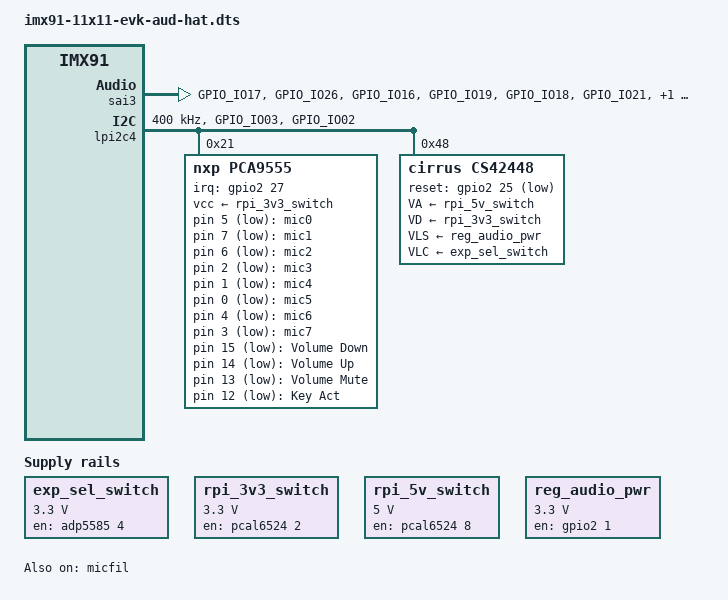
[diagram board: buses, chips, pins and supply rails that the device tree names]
// SPDX-License-Identifier: (GPL-2.0+ OR MIT)
/*
 * Copyright 2024 NXP
 */

#include "imx91-11x11-evk.dts"

/ {
	mic_leds {
		compatible = "gpio-leds";
		mic0 {
			label = "mic0";
			gpios = <&pca9555 5 GPIO_ACTIVE_LOW>;
			default-state = "off";
		};
		mic1 {
			label = "mic1";
			gpios = <&pca9555 7 GPIO_ACTIVE_LOW>;
			default-state = "off";
		};
		mic2 {
			label = "mic2";
			gpios = <&pca9555 6 GPIO_ACTIVE_LOW>;
			default-state = "off";
		};
		mic3 {
			label = "mic3";
			gpios = <&pca9555 2 GPIO_ACTIVE_LOW>;
			default-state = "off";
		};
		mic4 {
			label = "mic4";
			gpios = <&pca9555 1 GPIO_ACTIVE_LOW>;
			default-state = "off";
		};
		mic5 {
			label = "mic5";
			gpios = <&pca9555 0 GPIO_ACTIVE_LOW>;
			default-state = "off";
		};
		mic6 {
			label = "mic6";
			gpios = <&pca9555 4 GPIO_ACTIVE_LOW>;
			default-state = "off";
		};
		mic7 {
			label = "mic7";
			gpios = <&pca9555 3 GPIO_ACTIVE_LOW>;
			default-state = "off";
		};
	};

	sw_keys {
		compatible = "gpio-keys";

		sw4: volume_down {
			label = "Volume Down";
			gpios = <&pca9555 15 GPIO_ACTIVE_LOW>;
			linux,code = <KEY_VOLUMEDOWN>;
			interrupt-parent = <&pca9555>;
			interrupts = <15 IRQ_TYPE_LEVEL_LOW>;
		};

		sw3: volume_up {
			label = "Volume Up";
			gpios = <&pca9555 14 GPIO_ACTIVE_LOW>;
			linux,code = <KEY_VOLUMEUP>;
			interrupt-parent = <&pca9555>;
			interrupts = <14 IRQ_TYPE_LEVEL_LOW>;
		};

		sw2: volume_mute {
			label = "Volume Mute";
			gpios = <&pca9555 13 GPIO_ACTIVE_LOW>;
			linux,code = <KEY_MUTE>;
			interrupt-parent = <&pca9555>;
			interrupts = <13 IRQ_TYPE_LEVEL_LOW>;
		};

		sw1: key_act {
			label = "Key Act";
			gpios = <&pca9555 12 GPIO_ACTIVE_LOW>;
			linux,code = <KEY_F9>;
			interrupt-parent = <&pca9555>;
			interrupts = <12 IRQ_TYPE_LEVEL_LOW>;
		};
	};

	exp_sel_switch: regulator-sel-switch {
		compatible = "regulator-fixed";
		regulator-name = "exp-sel-switch";
		regulator-min-microvolt = <3300000>;
		regulator-max-microvolt = <3300000>;
		gpio = <&adp5585 4 GPIO_ACTIVE_HIGH>;
		enable-active-high;
		regulator-always-on;
	};

	rpi_3v3_switch: regulator-3v3-switch {
		compatible = "regulator-fixed";
		regulator-name = "rpi-3v3-switch";
		regulator-min-microvolt = <3300000>;
		regulator-max-microvolt = <3300000>;
		gpio = <&pcal6524 2 GPIO_ACTIVE_HIGH>;
		enable-active-high;
		regulator-always-on;
	};

	rpi_5v_switch: regulator-5v-switch {
		compatible = "regulator-fixed";
		regulator-name = "rpi-5v-switch";
		regulator-min-microvolt = <5000000>;
		regulator-max-microvolt = <5000000>;
		gpio = <&pcal6524 8 GPIO_ACTIVE_HIGH>;
		enable-active-high;
		regulator-always-on;
	};

	reg_audio_pwr: regulator-audio-pwr {
		compatible = "regulator-fixed";
		pinctrl-names = "default";
		pinctrl-0 = <&pinctrl_audio_pwr>;
		regulator-name = "cs42448-supply";
		regulator-min-microvolt = <3300000>;
		regulator-max-microvolt = <3300000>;
		gpio = <&gpio2 1 GPIO_ACTIVE_HIGH>;
		enable-active-high;
		regulator-always-on;
	};

	sound-wm8962 {
		status = "disabled";
	};

	sound-cs42448 {
		compatible = "fsl,imx-audio-card";
		model = "imx-cs42448";
		status = "okay";
		pri-dai-link {
			link-name = "cs42448";
			format = "dsp_a";
			dai-tdm-slot-num = <8>;
			dai-tdm-slot-width = <32>;
			fsl,mclk-equal-bclk;
			cpu {
				sound-dai = <&sai3>;
			};
			codec {
				sound-dai = <&cs42448>;
			};
		};
	};

};

&adp5585 {
	exp-sel-hog {
		status = "disabled";
	};
};

&sai3 {
	#sound-dai-cells = <0>;
	pinctrl-names = "default";
	pinctrl-0 = <&pinctrl_sai3audhat>;
	clocks = <&clk IMX91_CLK_SAI3_IPG>, <&clk IMX91_CLK_DUMMY>,
		 <&clk IMX91_CLK_SAI3_GATE>, <&clk IMX91_CLK_DUMMY>,
		 <&clk IMX91_CLK_DUMMY>, <&clk IMX91_CLK_AUDIO_PLL>;
	clock-names = "bus", "mclk0", "mclk1", "mclk2", "mclk3", "pll8k";
	assigned-clocks = <&clk IMX91_CLK_SAI3>;
	assigned-clock-parents = <&clk IMX91_CLK_AUDIO_PLL>;
	assigned-clock-rates = <12288000>;
	fsl,sai-asynchronous;
	status = "okay";
};

&flexcan2 {
	status = "disabled";
};

&micfil {
	pinctrl-names = "default";
	pinctrl-0 = <&pinctrl_pdm2>;
	status = "okay";
};

&lpi2c4 {
	clock-frequency = <400000>;
	dmas = <&edma2 10 0 0>, <&edma2 11 0 1>;
	dma-names = "tx","rx";
	pinctrl-names = "default";
	pinctrl-0 = <&pinctrl_lpi2c4>;
	status = "okay";

	pca9555: gpio@21 {
		compatible = "nxp,pca9555";
		pinctrl-names = "default";
		pinctrl-0 = <&pinctrl_pushbutton_irq>;
		reg = <0x21>;
		gpio-controller;
		#gpio-cells = <2>;
		interrupt-controller;
		#interrupt-cells = <2>;
		interrupt-parent = <&gpio2>;
		interrupts = <27 IRQ_TYPE_LEVEL_LOW>;
		vcc-supply = <&rpi_3v3_switch>;
		status = "okay";
	};

	cs42448: codec@48 {
		#sound-dai-cells = <0>;
		compatible = "cirrus,cs42448";
		reg = <0x48>;
		clocks = <&clk IMX91_CLK_SAI3_GATE>;
		clock-names = "mclk";
		VA-supply = <&rpi_5v_switch>;
		VD-supply = <&rpi_3v3_switch>;
		VLS-supply = <&reg_audio_pwr>;
		VLC-supply = <&exp_sel_switch>;
		reset-gpio = <&gpio2 25 GPIO_ACTIVE_LOW>;
		status = "okay";
	};
};

&iomuxc {
	pinctrl_swpdm_mute_irq: swpdm_mute_grp {
		fsl,pins = <
			MX91_PAD_GPIO_IO00__GPIO2_IO0		0x31e
		>;
	};

	pinctrl_pushbutton_irq: pushbutton_grp {
		fsl,pins = <
			MX91_PAD_GPIO_IO27__GPIO2_IO27		0x31e
		>;
	};

	pinctrl_pdm2: pdm2grp {
		fsl,pins = <
			MX91_PAD_GPIO_IO04__PDM_CLK		0x31e
			MX91_PAD_GPIO_IO05__PDM_BIT_STREAM0 	0x31e
			MX91_PAD_GPIO_IO06__PDM_BIT_STREAM1 	0x31e
			MX91_PAD_GPIO_IO12__PDM_BIT_STREAM2 	0x31e
			MX91_PAD_GPIO_IO13__PDM_BIT_STREAM3 	0x31e
		>;
	};

	pinctrl_lpi2c4: lpi2c4grp {
		fsl,pins = <
			MX91_PAD_GPIO_IO03__LPI2C4_SCL		0x40000b9e
			MX91_PAD_GPIO_IO02__LPI2C4_SDA		0x40000b9e
		>;
	};

	pinctrl_sai3audhat: sai3audhat {
		fsl,pins = <
			MX91_PAD_GPIO_IO17__SAI3_MCLK		0x31e
			MX91_PAD_GPIO_IO26__SAI3_TX_SYNC	0x31e
			MX91_PAD_GPIO_IO16__SAI3_TX_BCLK	0x31e
			MX91_PAD_GPIO_IO19__SAI3_RX_SYNC	0x31e
			MX91_PAD_GPIO_IO18__SAI3_RX_BCLK	0x31e
			MX91_PAD_GPIO_IO21__SAI3_TX_DATA0	0x31e
			MX91_PAD_GPIO_IO20__SAI3_RX_DATA0	0x31e
		>;
	};

	pinctrl_audio_pwr: audiopwrgrp {
		fsl,pins = <
			MX91_PAD_GPIO_IO01__GPIO2_IO1		0x31e
		>;
	};
};
